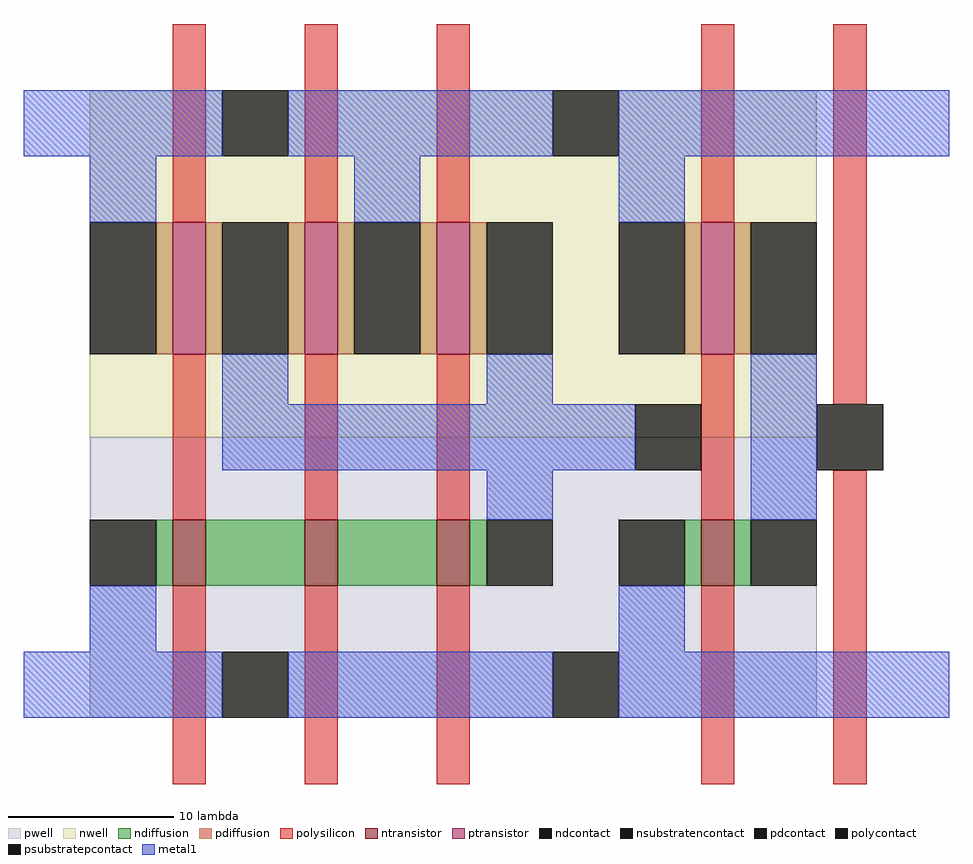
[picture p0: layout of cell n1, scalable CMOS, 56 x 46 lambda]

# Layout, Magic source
magic
tech scmos
<< pwell >>
rect -18 8 26 25
<< nwell >>
rect -18 25 26 46
<< polysilicon >>
rect -13 38 -11 50
rect -5 38 -3 50
rect 3 38 5 50
rect 19 38 21 50
rect -13 20 -11 30
rect -5 20 -3 30
rect 3 20 5 30
rect 19 20 21 30
rect 27 27 29 50
rect -13 4 -11 16
rect -5 4 -3 16
rect 3 4 5 16
rect 19 4 21 16
rect 27 4 29 23
<< ndiffusion >>
rect -14 16 -13 20
rect -11 16 -5 20
rect -3 16 3 20
rect 5 16 6 20
rect 18 16 19 20
rect 21 16 22 20
<< pdiffusion >>
rect -14 30 -13 38
rect -11 30 -10 38
rect -6 30 -5 38
rect -3 30 -2 38
rect 2 30 3 38
rect 5 30 6 38
rect 18 30 19 38
rect 21 30 22 38
<< metal1 >>
rect -22 42 -10 46
rect -6 42 10 46
rect 14 42 34 46
rect -18 38 -14 42
rect -2 38 2 42
rect 14 38 18 42
rect -10 27 -6 30
rect 6 27 10 30
rect -10 23 15 27
rect 6 20 10 23
rect 22 20 26 30
rect -18 12 -14 16
rect 14 12 18 16
rect -22 8 -10 12
rect -6 8 10 12
rect 14 8 34 12
<< ntransistor >>
rect -13 16 -11 20
rect -5 16 -3 20
rect 3 16 5 20
rect 19 16 21 20
<< ptransistor >>
rect -13 30 -11 38
rect -5 30 -3 38
rect 3 30 5 38
rect 19 30 21 38
<< polycontact >>
rect 15 23 19 27
rect 26 23 30 27
<< ndcontact >>
rect -18 16 -14 20
rect 6 16 10 20
rect 14 16 18 20
rect 22 16 26 20
<< pdcontact >>
rect -18 30 -14 38
rect -10 30 -6 38
rect -2 30 2 38
rect 6 30 10 38
rect 14 30 18 38
rect 22 30 26 38
<< psubstratepcontact >>
rect -10 8 -6 12
rect 10 8 14 12
<< nsubstratencontact >>
rect -10 42 -6 46
rect 10 42 14 46
<< end >>
